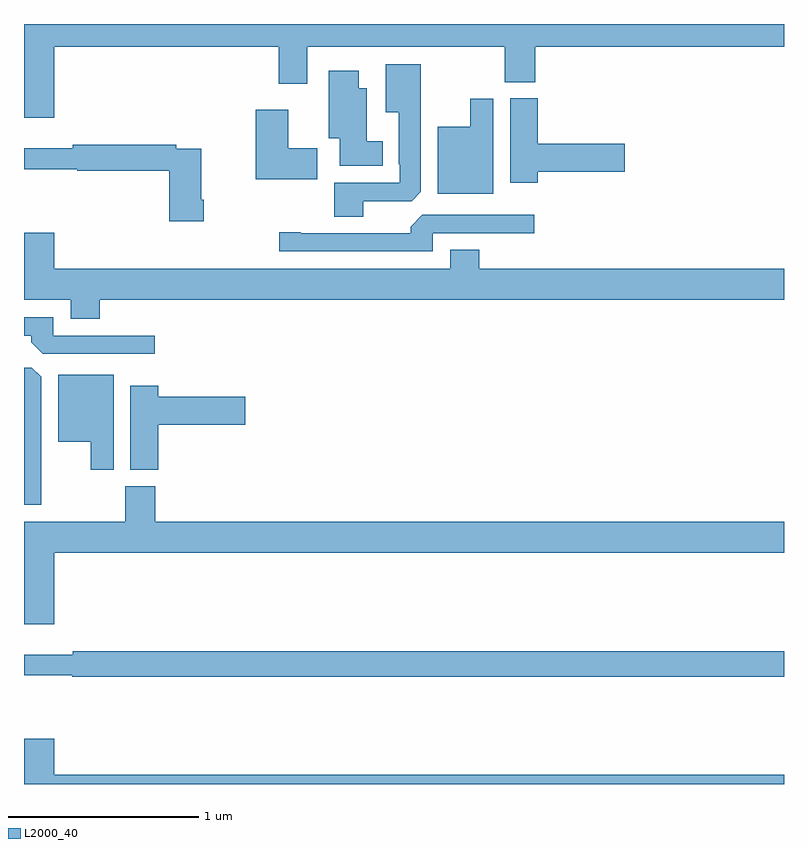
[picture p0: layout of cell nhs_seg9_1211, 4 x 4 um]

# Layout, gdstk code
import gdstk
lib = gdstk.Library(unit=1e-6, precision=1e-09)
def P(c, l, *ps):  # polygons
    for p in ps: c.add(gdstk.Polygon(p, *l))
L2000_40 = (2000, 40)

nhs_seg9_1211 = lib.new_cell('nhs_seg9_1211')
P(nhs_seg9_1211, L2000_40, [(177.16,1236.38),(178.34,1236.38),(178.34,1236.186),(178.492,1236.186),(178.492,1236.38),(179.53,1236.38),(179.53,1236.193),(179.69,1236.193),(179.69,1236.38),(181,1236.38),(181,1236.5),(177,1236.5),(177,1236.006),(177.16,1236.006)],
  [(178.786,1235.568),(179.04,1235.568),(179.089,1235.617),(179.089,1236.289),(178.904,1236.289),(178.904,1236.035),(178.973,1236.035),(178.973,1235.761),(178.977,1235.761),(178.977,1235.664),(178.634,1235.664),(178.634,1235.485),(178.786,1235.485)],
  [(178.888,1235.884),(178.804,1235.884),(178.804,1236.163),(178.762,1236.163),(178.762,1236.253),(178.604,1236.253),(178.604,1235.9),(178.661,1235.9),(178.661,1235.753),(178.888,1235.753)],
  [(179.705,1235.723),(180.163,1235.723),(180.163,1235.87),(179.705,1235.87),(179.705,1236.108),(179.558,1236.108),(179.558,1235.664),(179.705,1235.664)],
  [(179.47,1236.106),(179.348,1236.106),(179.348,1235.959),(179.177,1235.959),(179.177,1235.606),(179.47,1235.606)],
  [(178.543,1235.847),(178.39,1235.847),(178.39,1236.049),(178.22,1236.049),(178.22,1235.684),(178.543,1235.684)],
  [(177.947,1235.575),(177.934,1235.575),(177.934,1235.844),(177.8,1235.844),(177.8,1235.864),(177.256,1235.864),(177.256,1235.845),(177,1235.845),(177,1235.736),(177.28,1235.736),(177.28,1235.728),(177.764,1235.728),(177.764,1235.463),(177.947,1235.463)],
  [(179.151,1235.4),(179.686,1235.4),(179.686,1235.496),(179.097,1235.496),(179.036,1235.434),(179.036,1235.4),(178.456,1235.4),(178.456,1235.405),(178.344,1235.405),(178.344,1235.304),(179.151,1235.304)],
  [(177.398,1235.048),(181,1235.048),(181,1235.212),(179.396,1235.212),(179.396,1235.311),(179.243,1235.311),(179.243,1235.212),(177.16,1235.212),(177.16,1235.401),(177,1235.401),(177,1235.048),(177.245,1235.048),(177.245,1234.949),(177.398,1234.949)],
  [(177.688,1234.86),(177.153,1234.86),(177.153,1234.956),(177,1234.956),(177,1234.86),(177.038,1234.86),(177.038,1234.826),(177.099,1234.764),(177.688,1234.764)],
  [(177.091,1234.643),(177.042,1234.692),(177,1234.692),(177,1233.971),(177.091,1233.971)],
  [(177.472,1234.654),(177.179,1234.654),(177.179,1234.301),(177.35,1234.301),(177.35,1234.155),(177.472,1234.155)],
  [(177.707,1234.391),(178.165,1234.391),(178.165,1234.538),(177.707,1234.538),(177.707,1234.597),(177.56,1234.597),(177.56,1234.153),(177.707,1234.153)],
  [(177.16,1233.716),(181,1233.716),(181,1233.88),(177.692,1233.88),(177.692,1234.068),(177.532,1234.068),(177.532,1233.88),(177,1233.88),(177,1233.342),(177.16,1233.342)],
  [(181,1233.2),(177.256,1233.2),(177.256,1233.181),(177,1233.181),(177,1233.072),(177.254,1233.072),(177.254,1233.064),(181,1233.064)],
  [(181,1232.548),(177.16,1232.548),(177.16,1232.737),(177,1232.737),(177,1232.5),(181,1232.5)])

lib.write_gds('nhs_seg9_1211.gds')
